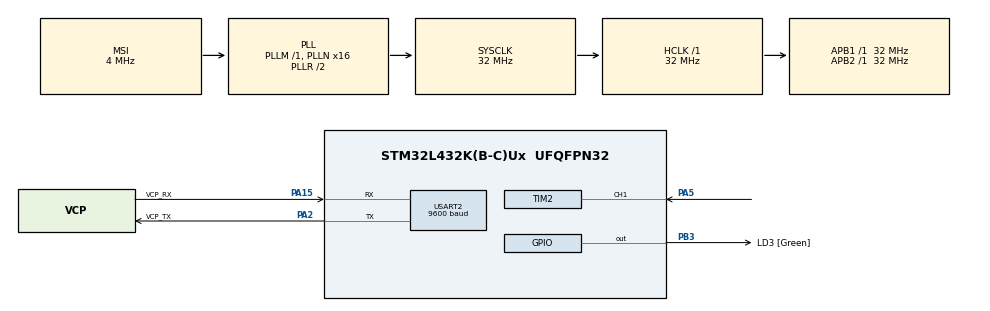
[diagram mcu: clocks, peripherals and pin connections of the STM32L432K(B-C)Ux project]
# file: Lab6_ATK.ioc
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ADC1.Channel-0\#ChannelRegularConversion=ADC_CHANNEL_VREFINT
ADC1.NbrOfConversionFlag=1
ADC1.OffsetNumber-0\#ChannelRegularConversion=ADC_OFFSET_NONE
ADC1.Rank-0\#ChannelRegularConversion=1
ADC1.SamplingTime-0\#ChannelRegularConversion=ADC_SAMPLETIME_2CYCLES_5
ADC1.master=1
Dma.Request0=TIM2_CH1
Dma.TIM2_CH1.0.Direction=DMA_PERIPH_TO_MEMORY
Dma.TIM2_CH1.0.Instance=DMA1_Channel5
Dma.TIM2_CH1.0.MemDataAlignment=DMA_MDATAALIGN_WORD
Dma.TIM2_CH1.0.MemInc=DMA_MINC_ENABLE
Dma.TIM2_CH1.0.Mode=DMA_NORMAL
Dma.TIM2_CH1.0.PeriphDataAlignment=DMA_PDATAALIGN_WORD
Dma.TIM2_CH1.0.PeriphInc=DMA_PINC_DISABLE
Dma.TIM2_CH1.0.Priority=DMA_PRIORITY_LOW
Mcu.Family=STM32L4
Mcu.Name=STM32L432K(B-C)Ux
Mcu.Package=UFQFPN32
NVIC.DMA1_Channel5_IRQn=true\:0\:0\:false\:false\:true\:false\:true\:true
NVIC.PriorityGroup=NVIC_PRIORITYGROUP_4
NVIC.RTC_Alarm_IRQn=true\:0\:0\:false\:false\:true\:true\:true\:true
NVIC.USART2_IRQn=true\:0\:0\:false\:false\:true\:true\:true\:true
PA0.GPIO_Label=MCO [High speed clock in]
PA0.Mode=HSE-External-Clock-Source-for-LittleOrca
PA0.Signal=RCC_CK_IN
PA13\ (JTMS-SWDIO).GPIO_Label=SWDIO
PA13\ (JTMS-SWDIO).Mode=Serial_Wire
PA13\ (JTMS-SWDIO).Signal=SYS_JTMS-SWDIO
PA14\ (JTCK-SWCLK).GPIO_Label=SWCLK
PA14\ (JTCK-SWCLK).Mode=Serial_Wire
PA14\ (JTCK-SWCLK).Signal=SYS_JTCK-SWCLK
PA15\ (JTDI).GPIO_Label=VCP_RX
PA15\ (JTDI).Mode=Asynchronous
PA15\ (JTDI).Signal=USART2_RX
PA2.GPIO_Label=VCP_TX
PA2.Mode=Asynchronous
PA2.Signal=USART2_TX
PA5.Signal=S_TIM2_CH1
PB3\ (JTDO-TRACESWO).GPIO_Label=LD3 [Green]
PB3\ (JTDO-TRACESWO).Signal=GPIO_Output
PC14-OSC32_IN\ (PC14).Mode=LSE-External-Oscillator
PC14-OSC32_IN\ (PC14).Signal=RCC_OSC32_IN
PC15-OSC32_OUT\ (PC15).Mode=LSE-External-Oscillator
PC15-OSC32_OUT\ (PC15).Signal=RCC_OSC32_OUT
ProjectManager.HeapSize=0x200
ProjectManager.StackSize=0x400
ProjectManager.TargetToolchain=STM32CubeIDE
RCC.AHBFreq_Value=32000000
RCC.APB1Freq_Value=32000000
RCC.APB1TimFreq_Value=32000000
RCC.APB2Freq_Value=32000000
RCC.APB2TimFreq_Value=32000000
RCC.CortexFreq_Value=32000000
RCC.HCLKFreq_Value=32000000
RCC.HSE_VALUE=8000000
RCC.HSI16_VALUE=16000000
RCC.HSI48_VALUE=48000000
RCC.HSI_VALUE=16000000
RCC.MSI_VALUE=4000000
RCC.PLLMUL=RCC_PLLMUL_4
RCC.PLLN=16
RCC.SYSCLKFreq_VALUE=32000000
RCC.SYSCLKSource=RCC_SYSCLKSOURCE_PLLCLK
RCC.VCOOutputFreq_Value=64000000
RTC.Alarm=RTC_ALARM_A
RTC.AlarmMaskDateWeekDay=RTC_ALARMMASK_DATEWEEKDAY
RTC.AlarmMaskHours=RTC_ALARMMASK_HOURS
RTC.AlarmMaskMinutes=RTC_ALARMMASK_MINUTES
RTC.Format=RTC_FORMAT_BIN
RTC.Hours=13
RTC.Minutes=11
RTC.Month=RTC_MONTH_FEBRUARY
RTC.Seconds_A=10
RTC.Year=23
SH.S_TIM2_CH1.0=TIM2_CH1,Input_Capture1_from_TI1
TIM2.Channel-Input_Capture1_from_TI1=TIM_CHANNEL_1
USART2.BaudRate=9600
USART2.VirtualMode-Asynchronous=VM_ASYNC
VP_ADC1_Vref_Input.Mode=IN-Vrefint
VP_RTC_VS_RTC_Activate.Mode=RTC_Enabled
VP_RTC_VS_RTC_Alarm_A_Intern.Mode=Alarm A
VP_RTC_VS_RTC_Calendar.Mode=RTC_Calendar
VP_TIM2_VS_ClockSourceINT.Mode=Internal
board=NUCLEO-L432KC

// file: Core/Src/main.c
/* USER CODE BEGIN Header */
/**
 ******************************************************************************
 * @file           : main.c
 * @brief          : Main program body
 ******************************************************************************
 * @attention
 *
 * Copyright (c) 2023 STMicroelectronics.
 * All rights reserved.
 *
 * This software is licensed under terms that can be found in the LICENSE file
 * in the root directory of this software component.
 * If no LICENSE file comes with this software, it is provided AS-IS.
 *
 ******************************************************************************
 */
/* USER CODE END Header */
#include "main.h"

/* USER CODE BEGIN Includes */
#include "retarget.h"
#include <string.h>
#include <stm32l4xx_ll_usart.h>
#include "queue.h"
#include "command.h"
#include "led.h"
#include <stdio.h>
#include <flash.h>
/* USER CODE END Includes */

/* USER CODE BEGIN PD */
#define MAX_BUF 80

/* USER CODE END PD */

ADC_HandleTypeDef hadc1;

RTC_HandleTypeDef hrtc;

TIM_HandleTypeDef htim2;
DMA_HandleTypeDef hdma_tim2_ch1;

UART_HandleTypeDef huart2;

/* USER CODE BEGIN PV */
queue_t rx_queue;
volatile int alarm = 0;
uint32_t period = 0;
flash_status_t flash_status;
volatile uint8_t  captureDone = 0;
/* USER CODE END PV */

void SystemClock_Config(void);
static void MX_GPIO_Init(void);
static void MX_DMA_Init(void);
static void MX_USART2_UART_Init(void);
static void MX_RTC_Init(void);
static void MX_ADC1_Init(void);
static void MX_TIM2_Init(void);

/* USER CODE BEGIN 0 */
void HAL_TIM_IC_CaptureCallback(TIM_HandleTypeDef *htim) {
	  if (htim->Channel == HAL_TIM_ACTIVE_CHANNEL_1) {
	    captureDone = 1;
	  }
	}
/* USER CODE END 0 */

int main(void)
{
  /* USER CODE BEGIN 1 */
	uint8_t command[MAX_COMMAND_LEN];
	int command_length;
  /* USER CODE END 1 */

  /* MCU Configuration--------------------------------------------------------*/

  /* Reset of all peripherals, Initializes the Flash interface and the Systick. */
  HAL_Init();

  /* Configure the system clock */
  SystemClock_Config();

  /* Initialize all configured peripherals */
  MX_GPIO_Init();
  MX_DMA_Init();
  MX_USART2_UART_Init();
  MX_RTC_Init();
  MX_ADC1_Init();
  MX_TIM2_Init();
  /* USER CODE BEGIN 2 */
	RetargetInit(&huart2);
	LL_USART_EnableIT_RXNE(USART2); // Turn the the usart2 interrupt
	printf("\n\rSystem Up and Running\n\r");
  /* USER CODE END 2 */

  /* Infinite loop */
  /* USER CODE BEGIN WHILE */
	prompt();
	while (1) {
		if (get_command(command)) {
			command_length = delspace(command);
			if (command_length != -1) {
				if (execute_command(command)) {
					printf("NOK\n\r");
					prompt();
				}
				else{
							prompt();
						}
			} else {
				printf("NOK\n\r");
				prompt();
			}
	}

	if (alarm) {
		printf("\n\rAlarm happened\n\r");
		alarm = 0;
		lon();
		HAL_Delay(100);
		lof();
	}
    /* USER CODE END WHILE */

}
}

void SystemClock_Config(void)
{
  RCC_OscInitTypeDef RCC_OscInitStruct = {0};
  RCC_ClkInitTypeDef RCC_ClkInitStruct = {0};

  /** Configure the main internal regulator output voltage
  */
  if (HAL_PWREx_ControlVoltageScaling(PWR_REGULATOR_VOLTAGE_SCALE1) != HAL_OK)
  {
    Error_Handler();
  }

  /** Configure LSE Drive Capability
  */
  HAL_PWR_EnableBkUpAccess();
  __HAL_RCC_LSEDRIVE_CONFIG(RCC_LSEDRIVE_LOW);

  /** Initializes the RCC Oscillators according to the specified parameters
  * in the RCC_OscInitTypeDef structure.
  */
  RCC_OscInitStruct.OscillatorType = RCC_OSCILLATORTYPE_LSI|RCC_OSCILLATORTYPE_LSE
                              |RCC_OSCILLATORTYPE_MSI;
  RCC_OscInitStruct.LSEState = RCC_LSE_ON;
  RCC_OscInitStruct.LSIState = RCC_LSI_ON;
  RCC_OscInitStruct.MSIState = RCC_MSI_ON;
  RCC_OscInitStruct.MSICalibrationValue = 0;
  RCC_OscInitStruct.MSIClockRange = RCC_MSIRANGE_6;
  RCC_OscInitStruct.PLL.PLLState = RCC_PLL_ON;
  RCC_OscInitStruct.PLL.PLLSource = RCC_PLLSOURCE_MSI;
  RCC_OscInitStruct.PLL.PLLM = 1;
  RCC_OscInitStruct.PLL.PLLN = 16;
  RCC_OscInitStruct.PLL.PLLP = RCC_PLLP_DIV7;
  RCC_OscInitStruct.PLL.PLLQ = RCC_PLLQ_DIV2;
  RCC_OscInitStruct.PLL.PLLR = RCC_PLLR_DIV2;
  if (HAL_RCC_OscConfig(&RCC_OscInitStruct) != HAL_OK)
  {
    Error_Handler();
  }

  /** Initializes the CPU, AHB and APB buses clocks
  */
  RCC_ClkInitStruct.ClockType = RCC_CLOCKTYPE_HCLK|RCC_CLOCKTYPE_SYSCLK
                              |RCC_CLOCKTYPE_PCLK1|RCC_CLOCKTYPE_PCLK2;
  RCC_ClkInitStruct.SYSCLKSource = RCC_SYSCLKSOURCE_PLLCLK;
  RCC_ClkInitStruct.AHBCLKDivider = RCC_SYSCLK_DIV1;
  RCC_ClkInitStruct.APB1CLKDivider = RCC_HCLK_DIV1;
  RCC_ClkInitStruct.APB2CLKDivider = RCC_HCLK_DIV1;

  if (HAL_RCC_ClockConfig(&RCC_ClkInitStruct, FLASH_LATENCY_1) != HAL_OK)
  {
    Error_Handler();
  }

  /** Enable MSI Auto calibration
  */
  HAL_RCCEx_EnableMSIPLLMode();
}

static void MX_ADC1_Init(void)
{

  ADC_ChannelConfTypeDef sConfig = {0};

  /** Common config
  */
  hadc1.Instance = ADC1;
  hadc1.Init.ClockPrescaler = ADC_CLOCK_ASYNC_DIV1;
  hadc1.Init.Resolution = ADC_RESOLUTION_12B;
  hadc1.Init.DataAlign = ADC_DATAALIGN_RIGHT;
  hadc1.Init.ScanConvMode = ADC_SCAN_DISABLE;
  hadc1.Init.EOCSelection = ADC_EOC_SINGLE_CONV;
  hadc1.Init.LowPowerAutoWait = DISABLE;
  hadc1.Init.ContinuousConvMode = DISABLE;
  hadc1.Init.NbrOfConversion = 1;
  hadc1.Init.DiscontinuousConvMode = DISABLE;
  hadc1.Init.ExternalTrigConv = ADC_SOFTWARE_START;
  hadc1.Init.ExternalTrigConvEdge = ADC_EXTERNALTRIGCONVEDGE_NONE;
  hadc1.Init.DMAContinuousRequests = DISABLE;
  hadc1.Init.Overrun = ADC_OVR_DATA_PRESERVED;
  hadc1.Init.OversamplingMode = DISABLE;
  if (HAL_ADC_Init(&hadc1) != HAL_OK)
  {
    Error_Handler();
  }

  /** Configure Regular Channel
  */
  sConfig.Channel = ADC_CHANNEL_VREFINT;
  sConfig.Rank = ADC_REGULAR_RANK_1;
  sConfig.SamplingTime = ADC_SAMPLETIME_2CYCLES_5;
  sConfig.SingleDiff = ADC_SINGLE_ENDED;
  sConfig.OffsetNumber = ADC_OFFSET_NONE;
  sConfig.Offset = 0;
  if (HAL_ADC_ConfigChannel(&hadc1, &sConfig) != HAL_OK)
  {
    Error_Handler();
  }
  /* USER CODE BEGIN ADC1_Init 2 */
  HAL_ADC_Init(&hadc1); // Inialize the A2D
  while (HAL_ADCEx_Calibration_Start(&hadc1,ADC_SINGLE_ENDED) != HAL_OK);   // Calibrate the A2D
  /* USER CODE END ADC1_Init 2 */

}

static void MX_RTC_Init(void)
{

  RTC_TimeTypeDef sTime = {0};
  RTC_DateTypeDef sDate = {0};
  RTC_AlarmTypeDef sAlarm = {0};

  /** Initialize RTC Only
  */
  hrtc.Instance = RTC;
  hrtc.Init.HourFormat = RTC_HOURFORMAT_24;
  hrtc.Init.AsynchPrediv = 127;
  hrtc.Init.SynchPrediv = 255;
  hrtc.Init.OutPut = RTC_OUTPUT_DISABLE;
  hrtc.Init.OutPutRemap = RTC_OUTPUT_REMAP_NONE;
  hrtc.Init.OutPutPolarity = RTC_OUTPUT_POLARITY_HIGH;
  hrtc.Init.OutPutType = RTC_OUTPUT_TYPE_OPENDRAIN;
  if (HAL_RTC_Init(&hrtc) != HAL_OK)
  {
    Error_Handler();
  }

  /** Initialize RTC and set the Time and Date
  */
  sTime.Hours = 13;
  sTime.Minutes = 11;
  sTime.Seconds = 0;
  sTime.DayLightSaving = RTC_DAYLIGHTSAVING_NONE;
  sTime.StoreOperation = RTC_STOREOPERATION_RESET;
  if (HAL_RTC_SetTime(&hrtc, &sTime, RTC_FORMAT_BIN) != HAL_OK)
  {
    Error_Handler();
  }
  sDate.WeekDay = RTC_WEEKDAY_MONDAY;
  sDate.Month = RTC_MONTH_FEBRUARY;
  sDate.Date = 1;
  sDate.Year = 23;

  if (HAL_RTC_SetDate(&hrtc, &sDate, RTC_FORMAT_BIN) != HAL_OK)
  {
    Error_Handler();
  }

  /** Enable the Alarm A
  */
  sAlarm.AlarmTime.Hours = 0;
  sAlarm.AlarmTime.Minutes = 0;
  sAlarm.AlarmTime.Seconds = 10;
  sAlarm.AlarmTime.SubSeconds = 0;
  sAlarm.AlarmTime.DayLightSaving = RTC_DAYLIGHTSAVING_NONE;
  sAlarm.AlarmTime.StoreOperation = RTC_STOREOPERATION_RESET;
  sAlarm.AlarmMask = RTC_ALARMMASK_DATEWEEKDAY|RTC_ALARMMASK_HOURS
                              |RTC_ALARMMASK_MINUTES;
  sAlarm.AlarmSubSecondMask = RTC_ALARMSUBSECONDMASK_ALL;
  sAlarm.AlarmDateWeekDaySel = RTC_ALARMDATEWEEKDAYSEL_DATE;
  sAlarm.AlarmDateWeekDay = 1;
  sAlarm.Alarm = RTC_ALARM_A;
  if (HAL_RTC_SetAlarm_IT(&hrtc, &sAlarm, RTC_FORMAT_BIN) != HAL_OK)
  {
    Error_Handler();
  }

}

static void MX_TIM2_Init(void)
{

  TIM_ClockConfigTypeDef sClockSourceConfig = {0};
  TIM_MasterConfigTypeDef sMasterConfig = {0};
  TIM_IC_InitTypeDef sConfigIC = {0};

  htim2.Instance = TIM2;
  htim2.Init.Prescaler = 0;
  htim2.Init.CounterMode = TIM_COUNTERMODE_UP;
  htim2.Init.Period = 4294967295;
  htim2.Init.ClockDivision = TIM_CLOCKDIVISION_DIV1;
  htim2.Init.AutoReloadPreload = TIM_AUTORELOAD_PRELOAD_DISABLE;
  if (HAL_TIM_Base_Init(&htim2) != HAL_OK)
  {
    Error_Handler();
  }
  sClockSourceConfig.ClockSource = TIM_CLOCKSOURCE_INTERNAL;
  if (HAL_TIM_ConfigClockSource(&htim2, &sClockSourceConfig) != HAL_OK)
  {
    Error_Handler();
  }
  if (HAL_TIM_IC_Init(&htim2) != HAL_OK)
  {
    Error_Handler();
  }
  sMasterConfig.MasterOutputTrigger = TIM_TRGO_RESET;
  sMasterConfig.MasterSlaveMode = TIM_MASTERSLAVEMODE_DISABLE;
  if (HAL_TIMEx_MasterConfigSynchronization(&htim2, &sMasterConfig) != HAL_OK)
  {
    Error_Handler();
  }
  sConfigIC.ICPolarity = TIM_INPUTCHANNELPOLARITY_RISING;
  sConfigIC.ICSelection = TIM_ICSELECTION_DIRECTTI;
  sConfigIC.ICPrescaler = TIM_ICPSC_DIV1;
  sConfigIC.ICFilter = 0;
  if (HAL_TIM_IC_ConfigChannel(&htim2, &sConfigIC, TIM_CHANNEL_1) != HAL_OK)
  {
    Error_Handler();
  }

}

static void MX_USART2_UART_Init(void)
{

  huart2.Instance = USART2;
  huart2.Init.BaudRate = 9600;
  huart2.Init.WordLength = UART_WORDLENGTH_8B;
  huart2.Init.StopBits = UART_STOPBITS_1;
  huart2.Init.Parity = UART_PARITY_NONE;
  huart2.Init.Mode = UART_MODE_TX_RX;
  huart2.Init.HwFlowCtl = UART_HWCONTROL_NONE;
  huart2.Init.OverSampling = UART_OVERSAMPLING_16;
  huart2.Init.OneBitSampling = UART_ONE_BIT_SAMPLE_DISABLE;
  huart2.AdvancedInit.AdvFeatureInit = UART_ADVFEATURE_NO_INIT;
  if (HAL_UART_Init(&huart2) != HAL_OK)
  {
    Error_Handler();
  }
  /* USER CODE BEGIN USART2_Init 2 */
LL_USART_EnableIT_RXNE(USART2);
  /* USER CODE END USART2_Init 2 */

}

static void MX_DMA_Init(void)
{

  /* DMA controller clock enable */
  __HAL_RCC_DMA1_CLK_ENABLE();

  /* DMA interrupt init */
  /* DMA1_Channel5_IRQn interrupt configuration */
  HAL_NVIC_SetPriority(DMA1_Channel5_IRQn, 0, 0);
  HAL_NVIC_EnableIRQ(DMA1_Channel5_IRQn);

}

static void MX_GPIO_Init(void)
{
  GPIO_InitTypeDef GPIO_InitStruct = {0};

  /* GPIO Ports Clock Enable */
  __HAL_RCC_GPIOC_CLK_ENABLE();
  __HAL_RCC_GPIOA_CLK_ENABLE();
  __HAL_RCC_GPIOB_CLK_ENABLE();

  /*Configure GPIO pin Output Level */
  HAL_GPIO_WritePin(LD3_GPIO_Port, LD3_Pin, GPIO_PIN_RESET);

  /*Configure GPIO pin : LD3_Pin */
  GPIO_InitStruct.Pin = LD3_Pin;
  GPIO_InitStruct.Mode = GPIO_MODE_OUTPUT_PP;
  GPIO_InitStruct.Pull = GPIO_NOPULL;
  GPIO_InitStruct.Speed = GPIO_SPEED_FREQ_LOW;
  HAL_GPIO_Init(LD3_GPIO_Port, &GPIO_InitStruct);

}

void Error_Handler(void)
{
__disable_irq();
while (1) {
}
}
